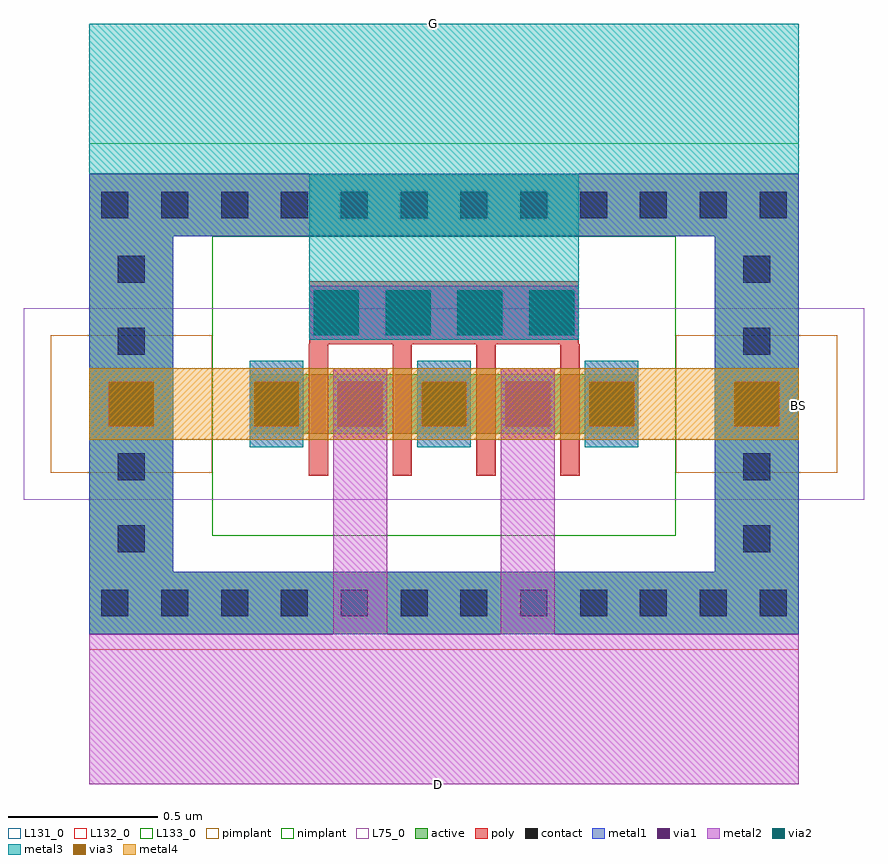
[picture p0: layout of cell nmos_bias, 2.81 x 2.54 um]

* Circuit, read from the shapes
.subckt nmos_bias BS D G
M1 D G BS BS nfet w=0.2u l=0.065u m=4
.ends

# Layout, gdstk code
import gdstk
lib = gdstk.Library(unit=1e-6, precision=1e-09)
def R(c, l, rs):  # rectangles x0, y0, x1, y1
    for r in rs: c.add(gdstk.rectangle(r[:2], r[2:], *l))
def A(c, l, x, y, w, h, nx, ny, dx, dy):  # array of equal rectangles
    R(c, l, [(x+i*dx, y+j*dy, x+i*dx+w, y+j*dy+h) for i in range(nx) for j in range(ny)])
active = (6, 0)
poly = (17, 0)
pimplant = (25, 0)
nimplant = (26, 0)
contact = (30, 0)
metal1 = (31, 0)
metal2 = (32, 0)
metal3 = (33, 0)
metal4 = (34, 0)
via1 = (51, 0)
via2 = (52, 0)
via3 = (53, 0)
L75_0 = (75, 0)
L131_0 = (131, 0)
L132_0 = (132, 0)
L133_0 = (133, 0)

nch_cdns_760715951210 = lib.new_cell('nch_CDNS_760715951210')
R(nch_cdns_760715951210, active, [(-0.735,0,-0.455,0.2), (-0.195,0,0,0.2), (0,0,0.06,0.2), (0.06,0,0.9,0.2), (0.9,0,1.095,0.2), (1.355,0,1.635,0.2)])
A(nch_cdns_760715951210, poly, -0.002, -0.14, 0.065, 0.14, 4, 1, 0.28, 0)
A(nch_cdns_760715951210, poly, -0.002, 0, 0.065, 0.2, 4, 1, 0.28, 0)
A(nch_cdns_760715951210, poly, -0.002, 0.2, 0.065, 0.1, 4, 1, 0.28, 0)
R(nch_cdns_760715951210, poly, [(0,0.3,0.9,0.51)])
R(nch_cdns_760715951210, pimplant, [(-0.865,-0.13,-0.325,0.33), (1.225,-0.13,1.765,0.33)])
R(nch_cdns_760715951210, nimplant, [(-0.325,-0.34,1.225,0.54), (-0.325,0.15,1.225,0.66)])
A(nch_cdns_760715951210, contact, -0.155, 0.055, 0.09, 0.09, 5, 1, 0.28, 0)
A(nch_cdns_760715951210, contact, 0.06, 0.36, 0.09, 0.09, 4, 1, 0.23, 0)
R(nch_cdns_760715951210, contact, [(-0.64,0.055,-0.55,0.145), (1.45,0.055,1.54,0.145)])
A(nch_cdns_760715951210, metal1, -0.155, -0.02, 0.09, 0.24, 5, 1, 0.28, 0)
R(nch_cdns_760715951210, L75_0, [(-0.955,-0.22,1.855,0.42)])
nch_cdns_760715951210.add(gdstk.FlexPath([(0,0.405),(0.9,0.405)], 0.09, ends="flush", simple_path=True, layer=31, datatype=0))  # metal1
nch_cdns_760715951210.add(gdstk.FlexPath([(1.495,-0.02),(1.495,0.22)], 0.28, ends="flush", simple_path=True, layer=31, datatype=0))  # metal1
nch_cdns_760715951210.add(gdstk.FlexPath([(-0.595,-0.02),(-0.595,0.22)], 0.28, ends="flush", simple_path=True, layer=31, datatype=0))  # metal1
nch_cdns_760715951210.add(gdstk.Label('[@instanceName]', (0.03,0.1), layer=127, texttype=0))
nch_cdns_760715951210.add(gdstk.Label('nch\n0.8/0.06\n', (0,0), layer=127, texttype=0))
nch_cdns_760715951210.add(gdstk.Label('B', (1.495,0.1), layer=127, texttype=0))
nch_cdns_760715951210.add(gdstk.Label('B', (-0.595,0.1), layer=127, texttype=0))
nch_cdns_760715951210.add(gdstk.Label('D', (0.17,0.1), layer=127, texttype=0))
nch_cdns_760715951210.add(gdstk.Label('S', (0.45,0.1), layer=127, texttype=0))
nch_cdns_760715951210.add(gdstk.Label('D', (0.73,0.1), layer=127, texttype=0))
nch_cdns_760715951210.add(gdstk.Label('S', (1.01,0.1), layer=127, texttype=0))
nch_cdns_760715951210.add(gdstk.Label('S', (-0.11,0.1), layer=127, texttype=0))

m3_m2_cdns_760715951210 = lib.new_cell('M3_M2_CDNS_760715951210')
R(m3_m2_cdns_760715951210, metal2, [(-0.45,-0.09,0.45,0.09)])
R(m3_m2_cdns_760715951210, metal3, [(-0.45,-0.09,0.45,0.09)])
A(m3_m2_cdns_760715951210, via2, -0.435, -0.075, 0.15, 0.15, 4, 1, 0.24, 0)

m2_m1_cdns_760715951211 = lib.new_cell('M2_M1_CDNS_760715951211')
R(m2_m1_cdns_760715951211, metal1, [(-0.45,-0.09,0.45,0.09)])
R(m2_m1_cdns_760715951211, metal2, [(-0.45,-0.09,0.45,0.09)])
A(m2_m1_cdns_760715951211, via1, -0.435, -0.075, 0.15, 0.15, 4, 1, 0.24, 0)

m4_m3_cdns_760715951212 = lib.new_cell('M4_M3_CDNS_760715951212')
R(m4_m3_cdns_760715951212, metal3, [(-0.09,-0.145,0.09,0.145)])
R(m4_m3_cdns_760715951212, metal4, [(-0.09,-0.12,0.09,0.12)])
R(m4_m3_cdns_760715951212, via3, [(-0.075,-0.075,0.075,0.075)])

m3_m2_cdns_760715951213 = lib.new_cell('M3_M2_CDNS_760715951213')
R(m3_m2_cdns_760715951213, metal2, [(-0.09,-0.145,0.09,0.145)])
R(m3_m2_cdns_760715951213, metal3, [(-0.09,-0.145,0.09,0.145)])
R(m3_m2_cdns_760715951213, via2, [(-0.075,-0.075,0.075,0.075)])

m2_m1_cdns_760715951214 = lib.new_cell('M2_M1_CDNS_760715951214')
R(m2_m1_cdns_760715951214, metal1, [(-0.09,-0.12,0.09,0.12)])
R(m2_m1_cdns_760715951214, metal2, [(-0.09,-0.145,0.09,0.145)])
R(m2_m1_cdns_760715951214, via1, [(-0.075,-0.075,0.075,0.075)])

m2_m1_cdns_760715951215 = lib.new_cell('M2_M1_CDNS_760715951215')
R(m2_m1_cdns_760715951215, metal1, [(-0.09,-0.12,0.09,0.12)])
R(m2_m1_cdns_760715951215, metal2, [(-0.09,-0.12,0.09,0.12)])
R(m2_m1_cdns_760715951215, via1, [(-0.075,-0.075,0.075,0.075)])

m1_od_cdns_760715951216 = lib.new_cell('M1_OD_CDNS_760715951216')
R(m1_od_cdns_760715951216, active, [(-0.14,-0.23,0.14,0.23)])
R(m1_od_cdns_760715951216, contact, [(-0.045,-0.165,0.045,-0.075), (-0.045,0.075,0.045,0.165)])
R(m1_od_cdns_760715951216, metal1, [(-0.14,-0.23,0.14,0.23)])

m1_od_cdns_760715951217 = lib.new_cell('M1_OD_CDNS_760715951217')
R(m1_od_cdns_760715951217, active, [(-1.185,-0.105,1.185,0.105)])
A(m1_od_cdns_760715951217, contact, -1.145, -0.045, 0.09, 0.09, 12, 1, 0.2, 0)
R(m1_od_cdns_760715951217, metal1, [(-1.185,-0.105,1.185,0.105)])

m4_m3_cdns_760715951218 = lib.new_cell('M4_M3_CDNS_760715951218')
R(m4_m3_cdns_760715951218, metal3, [(-0.14,-0.12,0.14,0.12)])
R(m4_m3_cdns_760715951218, metal4, [(-0.14,-0.12,0.14,0.12)])
R(m4_m3_cdns_760715951218, via3, [(-0.075,-0.075,0.075,0.075)])

m3_m2_cdns_760715951219 = lib.new_cell('M3_M2_CDNS_760715951219')
R(m3_m2_cdns_760715951219, metal2, [(-0.14,-0.12,0.14,0.12)])
R(m3_m2_cdns_760715951219, metal3, [(-0.14,-0.12,0.14,0.12)])
R(m3_m2_cdns_760715951219, via2, [(-0.075,-0.075,0.075,0.075)])

m2_m1_cdns_7607159512110 = lib.new_cell('M2_M1_CDNS_7607159512110')
R(m2_m1_cdns_7607159512110, metal1, [(-0.14,-0.12,0.14,0.12)])
R(m2_m1_cdns_7607159512110, metal2, [(-0.14,-0.12,0.14,0.12)])
R(m2_m1_cdns_7607159512110, via1, [(-0.075,-0.075,0.075,0.075)])

nmos_bias = lib.new_cell('nmos_bias')
R(nmos_bias, metal2, [(-12.385,3.33,-10.015,3.83), (-11.57,3.56,-11.39,4.48), (-11.01,3.56,-10.83,4.48)])
R(nmos_bias, metal3, [(-11.65,4.995,-10.75,5.505), (-12.385,5.37,-10.015,5.87)])
R(nmos_bias, metal4, [(-12.115,4.48,-10.12,4.72)])
R(nmos_bias, L131_0, [(-10.295,4.48,-10.015,4.72)])
R(nmos_bias, L132_0, [(-12.385,3.33,-10.015,3.78)])
R(nmos_bias, L133_0, [(-12.385,5.47,-10.015,5.87)])
nmos_bias.add(gdstk.Reference(nch_cdns_760715951210, (-11.65,4.5)))
nmos_bias.add(gdstk.Reference(m3_m2_cdns_760715951210, (-11.2,4.905)))
nmos_bias.add(gdstk.Reference(m2_m1_cdns_760715951211, (-11.2,4.905)))
nmos_bias.add(gdstk.Reference(m4_m3_cdns_760715951212, (-10.64,4.6)))
nmos_bias.add(gdstk.Reference(m4_m3_cdns_760715951212, (-11.2,4.6)))
nmos_bias.add(gdstk.Reference(m4_m3_cdns_760715951212, (-11.76,4.6)))
nmos_bias.add(gdstk.Reference(m3_m2_cdns_760715951213, (-10.64,4.6)))
nmos_bias.add(gdstk.Reference(m3_m2_cdns_760715951213, (-11.2,4.6)))
nmos_bias.add(gdstk.Reference(m3_m2_cdns_760715951213, (-11.76,4.6)))
nmos_bias.add(gdstk.Reference(m2_m1_cdns_760715951214, (-10.64,4.6)))
nmos_bias.add(gdstk.Reference(m2_m1_cdns_760715951214, (-11.2,4.6)))
nmos_bias.add(gdstk.Reference(m2_m1_cdns_760715951214, (-11.76,4.6)))
nmos_bias.add(gdstk.Reference(m2_m1_cdns_760715951215, (-10.92,4.6)))
nmos_bias.add(gdstk.Reference(m2_m1_cdns_760715951215, (-11.48,4.6)))
nmos_bias.add(gdstk.Reference(m1_od_cdns_760715951216, (-12.245,4.27), x_reflection=True))
nmos_bias.add(gdstk.Reference(m1_od_cdns_760715951216, (-10.155,4.27), x_reflection=True))
nmos_bias.add(gdstk.Reference(m1_od_cdns_760715951216, (-12.245,4.93)))
nmos_bias.add(gdstk.Reference(m1_od_cdns_760715951216, (-10.155,4.93)))
nmos_bias.add(gdstk.Reference(m1_od_cdns_760715951217, (-11.2,3.935), x_reflection=True))
nmos_bias.add(gdstk.Reference(m1_od_cdns_760715951217, (-11.2,5.265)))
nmos_bias.add(gdstk.Reference(m4_m3_cdns_760715951218, (-12.245,4.6)))
nmos_bias.add(gdstk.Reference(m4_m3_cdns_760715951218, (-10.155,4.6)))
nmos_bias.add(gdstk.Reference(m3_m2_cdns_760715951219, (-12.245,4.6)))
nmos_bias.add(gdstk.Reference(m3_m2_cdns_760715951219, (-10.155,4.6)))
nmos_bias.add(gdstk.Reference(m2_m1_cdns_7607159512110, (-12.245,4.6)))
nmos_bias.add(gdstk.Reference(m2_m1_cdns_7607159512110, (-10.155,4.6)))
nmos_bias.add(gdstk.Label('G', (-11.235,5.87), layer=133, texttype=0))
nmos_bias.add(gdstk.Label('D', (-11.22,3.33), layer=132, texttype=0))
nmos_bias.add(gdstk.Label('BS', (-10.015,4.595), layer=131, texttype=0))

lib.write_gds('nmos_bias.gds')
